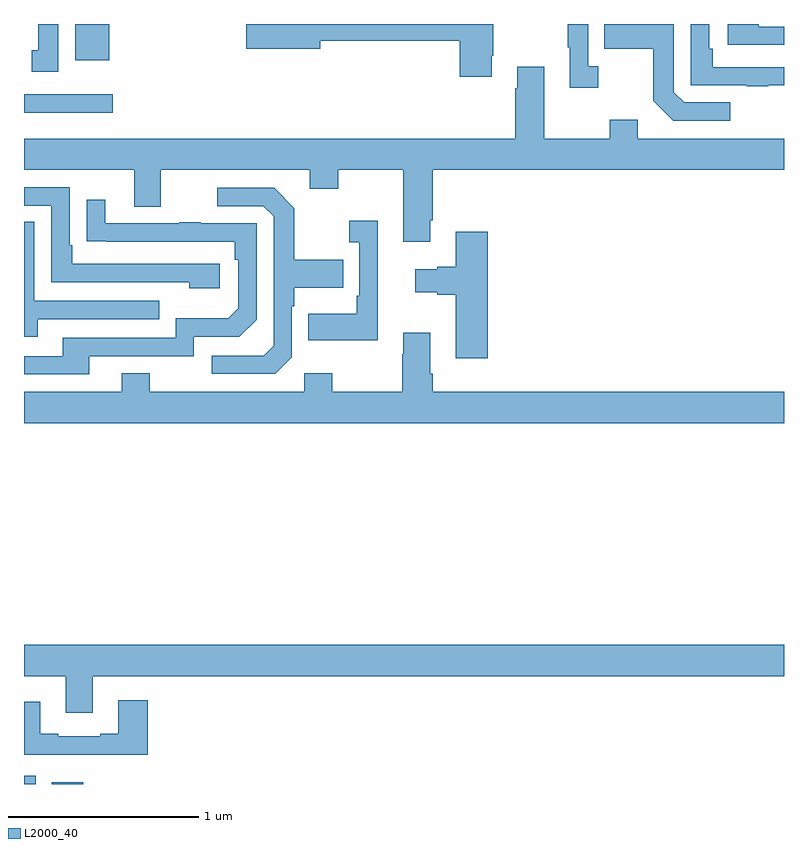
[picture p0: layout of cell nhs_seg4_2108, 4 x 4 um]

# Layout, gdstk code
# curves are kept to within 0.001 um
import gdstk
lib = gdstk.Library(unit=1e-6, precision=1e-09)
def R(c, l, rs):  # rectangles x0, y0, x1, y1
    for r in rs: c.add(gdstk.rectangle(r[:2], r[2:], *l))
def P(c, l, *ps):  # polygons
    for p in ps: c.add(gdstk.Polygon(p, *l))
L2000_40 = (2000, 40)

nhs_seg4_2108 = lib.new_cell('nhs_seg4_2108')
R(nhs_seg4_2108, L2000_40, [(219,814.9,219.061,814.944), (219.146,814.9,219.313,814.909), (219,818.432,219.466,818.529), (219.269,818.708,219.448,818.9)])
P(nhs_seg4_2108, L2000_40, [(219.181,818.9),(219.074,818.9),(219.074,818.762),(219.041,818.762),(219.041,818.649),(219.181,818.649)],
  [(221.461,818.734),(221.469,818.734),(221.469,818.9),(220.17,818.9),(220.17,818.77),(220.558,818.77),(220.558,818.812),(221.294,818.812),(221.294,818.622),(221.461,818.622)],
  [(222.917,818.577),(223,818.577),(223,818.673),(222.626,818.673),(222.626,818.77),(222.606,818.77),(222.606,818.9),(222.51,818.9),(222.51,818.577),(222.805,818.577),(222.805,818.572),(222.917,818.572)],
  [(222.022,818.678),(221.97,818.678),(221.97,818.9),(221.862,818.9),(221.862,818.777),(221.873,818.777),(221.873,818.565),(222.022,818.565)],
  [(222.718,818.487),(222.474,818.487),(222.42,818.541),(222.42,818.9),(222.055,818.9),(222.055,818.77),(222.312,818.77),(222.312,818.497),(222.417,818.391),(222.718,818.391)],
  [(223,818.886),(222.866,818.886),(222.866,818.9),(222.705,818.9),(222.705,818.79),(223,818.79)],
  [(221.137,817.867),(221.15,817.867),(221.15,818.132),(223,818.132),(223,818.296),(222.229,818.296),(222.229,818.395),(222.082,818.395),(222.082,818.296),(221.737,818.296),(221.737,818.674),(221.597,818.674),(221.597,818.561),(221.585,818.561),(221.585,818.296),(219,818.296),(219,818.132),(219.581,818.132),(219.581,817.938),(219.721,817.938),(219.721,818.132),(220.505,818.132),(220.505,818.033),(220.653,818.033),(220.653,818.132),(220.997,818.132),(220.997,817.755),(221.137,817.755)],
  [(220.03,817.638),(219.253,817.638),(219.253,817.735),(219.24,817.735),(219.24,818.04),(219,818.04),(219,817.944),(219.144,817.944),(219.144,817.542),(219.869,817.542),(219.869,817.508),(220.03,817.508)],
  [(220.41,817.146),(220.41,817.415),(220.423,817.415),(220.423,817.511),(220.679,817.511),(220.679,817.659),(220.423,817.659),(220.423,817.931),(220.317,818.037),(220.017,818.037),(220.017,817.941),(220.26,817.941),(220.314,817.887),(220.314,817.206),(220.263,817.155),(219.987,817.155),(219.987,817.059),(220.323,817.059)],
  [(219.343,817.152),(219.894,817.152),(219.894,817.254),(220.134,817.254),(220.224,817.344),(220.224,817.851),(219.929,817.851),(219.929,817.856),(219.817,817.856),(219.817,817.851),(219.427,817.851),(219.427,817.975),(219.331,817.975),(219.331,817.756),(220.108,817.755),(220.108,817.658),(220.128,817.658),(220.128,817.404),(220.075,817.351),(219.798,817.351),(219.798,817.248),(219.203,817.248),(219.203,817.152),(219,817.152),(219,817.056),(219.343,817.056)],
  [(220.862,817.864),(220.713,817.864),(220.713,817.751),(220.764,817.751),(220.764,817.471),(220.752,817.471),(220.752,817.375),(220.495,817.375),(220.495,817.235),(220.862,817.235)],
  [(219.073,817.347),(219.713,817.347),(219.713,817.443),(219.054,817.443),(219.054,817.859),(219,817.859),(219,817.253),(219.073,817.253)],
  [(221.441,817.807),(221.273,817.807),(221.273,817.622),(221.174,817.622),(221.174,817.609),(221.058,817.609),(221.058,817.487),(221.174,817.487),(221.174,817.475),(221.273,817.475),(221.273,817.14),(221.441,817.14)],
  [(223,816.964),(221.15,816.964),(221.15,817.06),(221.137,817.06),(221.137,817.276),(220.997,817.276),(220.997,817.163),(220.99,817.163),(220.99,816.964),(220.623,816.964),(220.623,817.063),(220.476,817.063),(220.476,816.964),(219.663,816.964),(219.663,817.063),(219.515,817.063),(219.515,816.964),(219,816.964),(219,816.8),(223,816.8)],
  [(219.361,815.468),(223,815.468),(223,815.632),(219,815.632),(219,815.468),(219.221,815.468),(219.221,815.274),(219.361,815.274)],
  [(219.65,815.341),(219.497,815.341),(219.497,815.164),(219.401,815.164),(219.401,815.151),(219.181,815.151),(219.181,815.164),(219.085,815.164),(219.085,815.332),(219,815.332),(219,815.054),(219.65,815.054)])

lib.write_gds('nhs_seg4_2108.gds')
